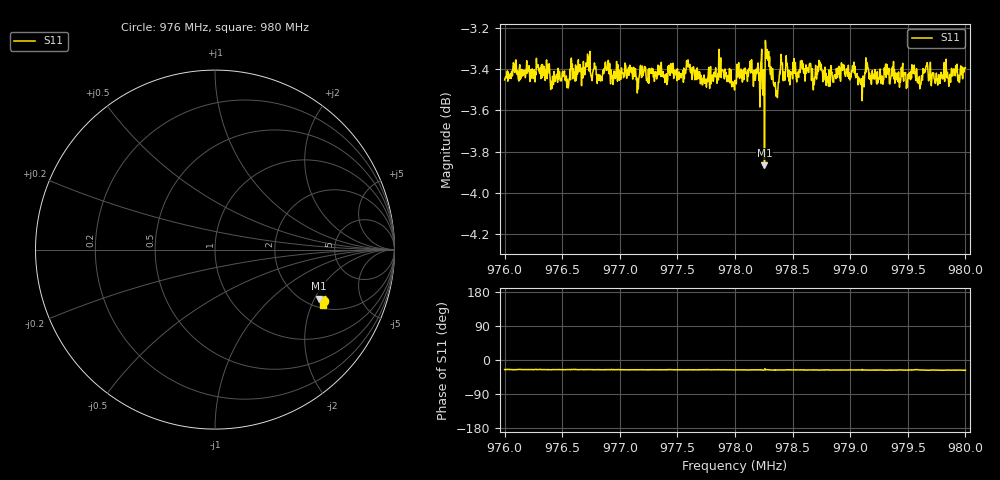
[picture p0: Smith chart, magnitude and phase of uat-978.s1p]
! Calibrated averaged scanner-service zoom
# Hz S RI R 50
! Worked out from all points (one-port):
!   1001 points, 976 MHz to 980 MHz, reference 50 ohm
!   lowest |S11| = -3.9 dB at 978.256 MHz (marker M1), VSWR 4.57, Z = 117 - j109 ohm
!   |S11| at or under -10 dB: nowhere
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9.76e8  0.6075 -0.2874
9.7608e8  0.612 -0.2917
9.76136e8  0.6097 -0.2831
9.765e8  0.6085 -0.2913
9.766e8  0.6117 -0.2825
9.7672e8  0.6166 -0.291
9.76828e8  0.6078 -0.291
9.76892e8  0.6111 -0.2905
9.77e8  0.607 -0.2914
9.775e8  0.6085 -0.2952
9.77676e8  0.6054 -0.2959
9.77752e8  0.6055 -0.2852
9.78e8  0.6036 -0.2953
9.78124e8  0.6073 -0.2981
9.78212e8  0.6051 -0.2987
9.78236e8  0.5986 -0.298
9.78256e8  0.5798 -0.2727
9.7828e8  0.6162 -0.2961
9.78352e8  0.6023 -0.2928
9.78396e8  0.6057 -0.3027
9.785e8  0.6031 -0.2975
9.79e8  0.6074 -0.2927
9.79156e8  0.6061 -0.3005
9.795e8  0.6019 -0.2996
9.79576e8  0.6104 -0.2911
9.79672e8  0.6048 -0.3051
9.79948e8  0.6002 -0.3003
9.8e8  0.6029 -0.3072
